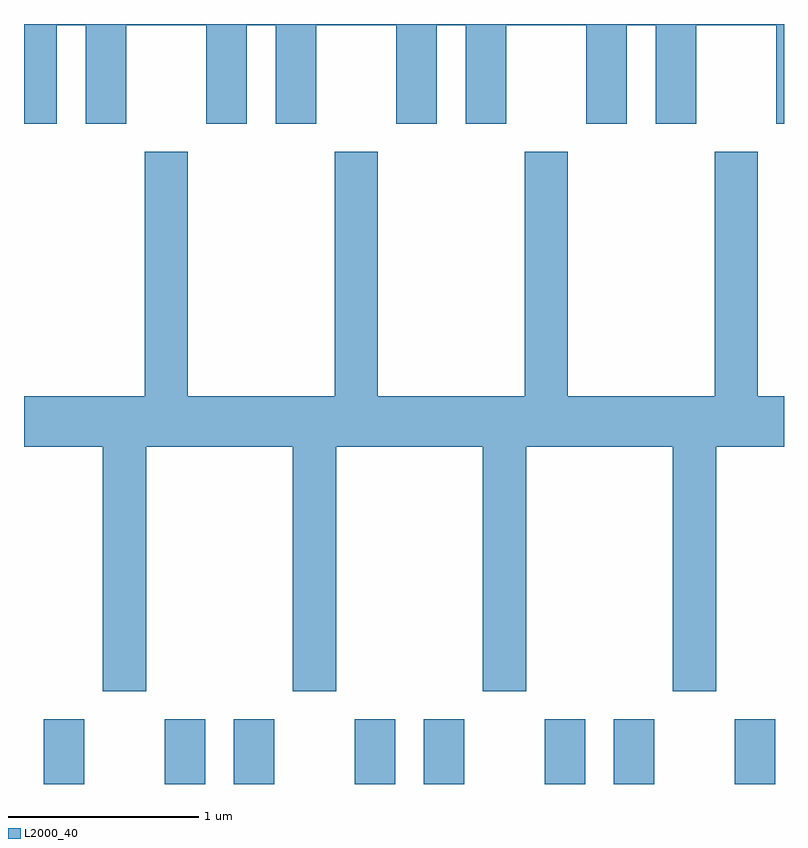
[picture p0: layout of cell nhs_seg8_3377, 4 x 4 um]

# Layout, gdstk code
import gdstk
lib = gdstk.Library(unit=1e-6, precision=1e-09)
def R(c, l, rs):  # rectangles x0, y0, x1, y1
    for r in rs: c.add(gdstk.rectangle(r[:2], r[2:], *l))
def P(c, l, *ps):  # polygons
    for p in ps: c.add(gdstk.Polygon(p, *l))
L2000_40 = (2000, 40)

nhs_seg8_3377 = lib.new_cell('nhs_seg8_3377')
R(nhs_seg8_3377, L2000_40, [(285.716,1912.342,285.929,1912.684), (286.351,1912.342,286.564,1912.684), (286.716,1912.342,286.929,1912.684), (287.351,1912.342,287.564,1912.684), (287.716,1912.342,287.929,1912.684), (288.351,1912.342,288.564,1912.684), (288.716,1912.342,288.929,1912.684), (289.351,1912.342,289.564,1912.684)])
P(nhs_seg8_3377, L2000_40, [(285.784,1916.336),(285.936,1916.336),(285.936,1915.816),(286.149,1915.816),(286.149,1916.336),(286.571,1916.336),(286.571,1915.816),(286.784,1915.816),(286.784,1916.336),(286.936,1916.336),(286.936,1915.816),(287.149,1915.816),(287.149,1916.336),(287.571,1916.336),(287.571,1915.816),(287.784,1915.816),(287.784,1916.336),(287.936,1916.336),(287.936,1915.816),(288.149,1915.816),(288.149,1916.336),(288.571,1916.336),(288.571,1915.816),(288.784,1915.816),(288.784,1916.336),(288.936,1916.336),(288.936,1915.816),(289.149,1915.816),(289.149,1916.336),(289.571,1916.336),(289.571,1915.816),(289.611,1915.816),(289.611,1916.342),(285.611,1916.342),(285.611,1915.816),(285.784,1915.816)],
  [(286.474,1915.669),(286.246,1915.669),(286.246,1914.384),(285.611,1914.384),(285.611,1914.116),(286.026,1914.116),(286.026,1912.831),(286.254,1912.831),(286.254,1914.116),(287.026,1914.116),(287.026,1912.831),(287.254,1912.831),(287.254,1914.116),(288.026,1914.116),(288.026,1912.831),(288.254,1912.831),(288.254,1914.116),(289.026,1914.116),(289.026,1912.831),(289.254,1912.831),(289.254,1914.116),(289.611,1914.116),(289.611,1914.384),(289.474,1914.384),(289.474,1915.669),(289.246,1915.669),(289.246,1914.384),(288.474,1914.384),(288.474,1915.669),(288.246,1915.669),(288.246,1914.384),(287.474,1914.384),(287.474,1915.669),(287.246,1915.669),(287.246,1914.384),(286.474,1914.384)])

lib.write_gds('nhs_seg8_3377.gds')
